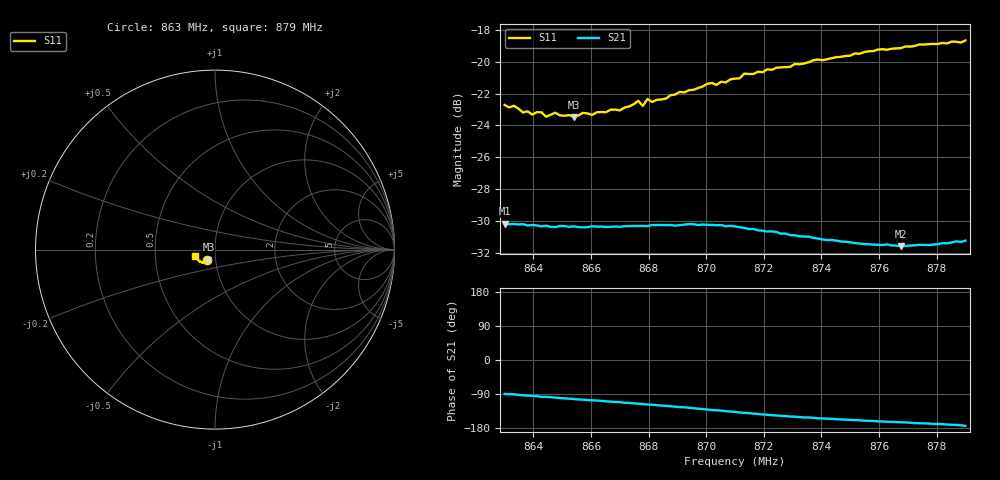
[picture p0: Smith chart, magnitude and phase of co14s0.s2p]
# HZ S RI R 50
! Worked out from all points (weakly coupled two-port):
!   101 points, 863 MHz to 879 MHz, reference 50 ohm
!   highest |S21| = -30.18 dB at 863 MHz (marker M1); lowest = -31.6 dB at 876.76 MHz (marker M2)
!   lowest |S11| = -23.5 dB at 865.4 MHz (marker M3), VSWR 1.14, Z = 46.2 - j5.23 ohm
!   |S11| at or under -10 dB: start of sweep to end of sweep
!   S12 and S22 are empty: the file has one direction only
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8.63e8  -0.0463 -0.0566  0.000253 -0.031  0 0  0 0
8.6396e8  -0.041 -0.0546  -0.00243 -0.0306  0 0  0 0
8.6428e8  -0.0403 -0.0565  -0.00392 -0.0302  0 0  0 0
8.6444e8  -0.0397 -0.0542  -0.0039 -0.0303  0 0  0 0
8.6476e8  -0.0395 -0.0568  -0.00485 -0.0299  0 0  0 0
8.654e8  -0.0365 -0.0563  -0.00686 -0.0297  0 0  0 0
8.6572e8  -0.0362 -0.0589  -0.00764 -0.0292  0 0  0 0
8.6604e8  -0.0359 -0.0579  -0.0086 -0.0292  0 0  0 0
8.67e8  -0.0358 -0.0606  -0.011 -0.0283  0 0  0 0
8.6764e8  -0.0379 -0.0652  -0.0131 -0.0276  0 0  0 0
8.678e8  -0.0359 -0.0632  -0.0134 -0.0274  0 0  0 0
8.6796e8  -0.0404 -0.0648  -0.0141 -0.027  0 0  0 0
8.6812e8  -0.0372 -0.0649  -0.0144 -0.0271  0 0  0 0
8.6844e8  -0.0377 -0.0661  -0.0154 -0.0266  0 0  0 0
8.7004e8  -0.0446 -0.0727  -0.02 -0.0233  0 0  0 0
8.7036e8  -0.0452 -0.0715  -0.0208 -0.0225  0 0  0 0
8.71e8  -0.0501 -0.073  -0.0223 -0.0207  0 0  0 0
8.7132e8  -0.0534 -0.0746  -0.0229 -0.0195  0 0  0 0
8.7372e8  -0.0697 -0.0732  -0.0249 -0.0128  0 0  0 0
8.7644e8  -0.0921 -0.06  -0.0254 -0.00759  0 0  0 0
8.7676e8  -0.0945 -0.057  -0.0254 -0.00718  0 0  0 0
8.79e8  -0.1104 -0.0376  -0.0273 -0.00298  0 0  0 0
